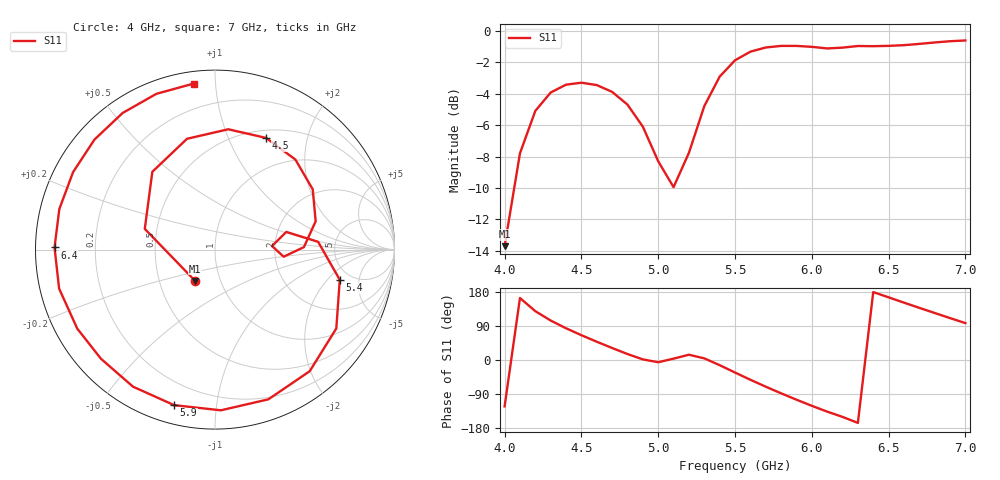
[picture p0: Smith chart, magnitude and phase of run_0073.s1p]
! Touchstone file exported from HFSS 2024.2.0
!  File:  C:/Users/wsak9/Desktop/Sim Fast/Widenad Patch/WP_AI_V1_sweep.aedt
!  Generated:  06:00:35 PM Oct 13, 2026
!  Design:  A1_model
!  Project:  WP_AI_V1_sweep
!  Setup:  Setup1
!  Solution:  Sweep
! Variables:
!  Air_gap = 2mm
!  Curve_Amp1 = 0.7
!  Curve_len1 = 1
!  Curve_pos = 13.395mm
!  Extra = 7.22mm
!  H_sub = 0.79mm
!  L_Patch = 22.79mm
!  L_Patch1 = 19.18mm
!  Sx = 0.99mm
!  Sy = 0.73mm
!  WS = 1.06mm
!  W_Patch = 16.72mm
!  W_Patch1 = 11.96mm
!Data is not renormalized
# GHz S MA
! Terminal data exported
! Port[1] = 1
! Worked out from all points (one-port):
!   31 points, 4 GHz to 7 GHz, reference per port
!   lowest |S11| = -13.7 dB at 4 GHz (marker M1), VSWR 1.52
!   |S11| at or under -10 dB: start of sweep to 4.063 GHz
!   S11 on the Smith chart (normalised r, x): 4 GHz: 0.76, -0.28; 4.5 GHz: 0.59, +1.38; 5.4 GHz: 4.03, -2.77; 5.9 GHz: 0.09, -0.77; 6.4 GHz: 0.06, +0.01; 7 GHz: 0.06, +0.88
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4  0.2065 -122.4
4.1  0.4079 163.6
4.2  0.5566 128.8
4.3  0.6368 104.2
4.4  0.6744 83.7
4.5  0.6842 65.4
4.6  0.6724 48.2
4.7  0.6398 31.7
4.8  0.5827 15.7
4.9  0.4957 1.6
5  0.3848 -5.9
5.1  0.3182 3.6
5.2  0.4093 13.9
5.3  0.5762 4.3
5.4  0.7152 -13.6
5.5  0.8062 -33.0
5.6  0.8588 -52.1
5.7  0.8857 -70.4
5.8  0.896 -87.9
5.9  0.896 -104.7
6.1  0.8795 -136.2
6.2  0.8847 -150.2
6.3  0.8953 -166.0
6.4  0.8941 179.2
6.5  0.8963 165.4
6.7  0.9093 137.6
6.9  0.9273 110.6
7  0.9325 97.4
